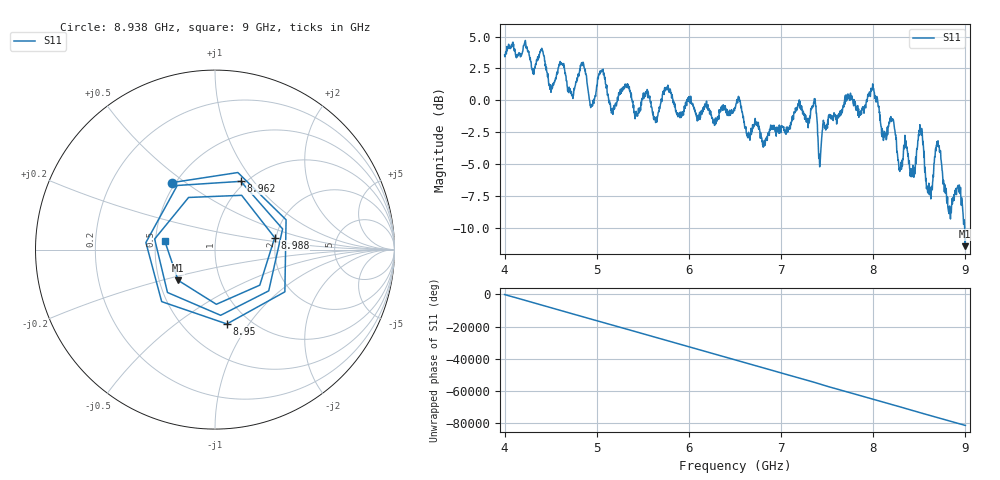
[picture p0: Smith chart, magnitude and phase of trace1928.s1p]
! Created with skrf 1.8.0 (http://scikit-rf.org).
# Hz S RI R 50.0
!freq ReS11 ImS11
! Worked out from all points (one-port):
!   1601 points, 4 GHz to 9 GHz, reference 50 ohm
!   lowest |S11| = -11.5 dB at 8.997 GHz (marker M1), VSWR 1.73, Z = 31.3 - j11.5 ohm
!   |S11| at or under -10 dB: 8.991516 GHz to end of sweep
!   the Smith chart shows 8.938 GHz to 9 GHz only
!   S11 on the Smith chart (normalised r, x): 8.938 GHz: 0.48, +0.45; 8.95 GHz: 0.79, -0.79; 8.962 GHz: 0.95, +0.87; 8.988 GHz: 1.97, +0.30; 9 GHz: 0.56, +0.06
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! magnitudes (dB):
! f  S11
! 4 GHz  3.5
! 4.625 GHz  2.9
! 4.731 GHz  0.4
! 4.85 GHz  2.7
! 4.944 GHz  -0.5
! 5.044 GHz  2.3
! 5.25 GHz  0.7
! 5.875 GHz  -1.2
! 6.5 GHz  -0.6
! 6.819 GHz  -3.2
! 7.125 GHz  -1.6
! 7.359 GHz  0.0
! 7.422 GHz  -4.8
! 7.75 GHz  0.4
! 8 GHz  0.9
! 8.291 GHz  -5.4
! 8.375 GHz  -4.4
! 8.431 GHz  -5.1
! 8.516 GHz  -2.4
! 8.6 GHz  -7.0
! 8.7 GHz  -3.6
! 8.822 GHz  -8.9
! 8.938 GHz  -7.1
! 8.95 GHz  -7.5
! 8.962 GHz  -7.8
! 8.988 GHz  -9.4
! 8.997 GHz  -11.5
! 9 GHz  -10.9
